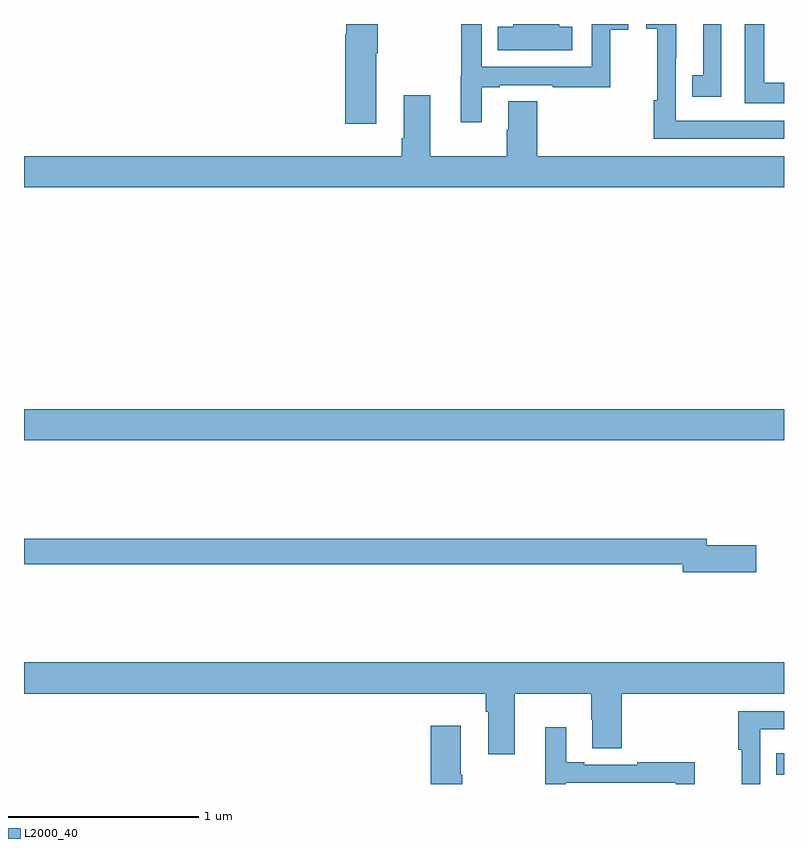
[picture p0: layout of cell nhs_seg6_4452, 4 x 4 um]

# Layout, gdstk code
import gdstk
lib = gdstk.Library(unit=1e-6, precision=1e-09)
def R(c, l, rs):  # rectangles x0, y0, x1, y1
    for r in rs: c.add(gdstk.rectangle(r[:2], r[2:], *l))
def P(c, l, *ps):  # polygons
    for p in ps: c.add(gdstk.Polygon(p, *l))
L2000_40 = (2000, 40)

nhs_seg6_4452 = lib.new_cell('nhs_seg6_4452')
R(nhs_seg6_4452, L2000_40, [(376.96,973.55,377,973.663), (373,975.308,377,975.472)])
P(nhs_seg6_4452, L2000_40, [(374.854,977.345),(374.862,977.345),(374.862,977.5),(374.696,977.5),(374.696,977.445),(374.69,977.445),(374.69,976.974),(374.854,976.974)],
  [(377,977.191),(376.895,977.191),(376.895,977.5),(376.794,977.5),(376.794,977.082),(377,977.082)],
  [(375.409,977.166),(375.505,977.166),(375.505,977.178),(375.784,977.178),(375.784,977.166),(376.086,977.166),(376.086,977.47),(376.18,977.47),(376.18,977.5),(375.987,977.5),(375.987,977.274),(375.408,977.274),(375.408,977.5),(375.3,977.5),(375.3,977.227),(375.299,977.227),(375.299,976.983),(375.409,976.983)],
  [(375.886,977.485),(375.817,977.485),(375.817,977.5),(375.575,977.5),(375.575,977.485),(375.493,977.485),(375.493,977.363),(375.886,977.363)],
  [(376.671,977.5),(376.574,977.5),(376.574,977.231),(376.516,977.231),(376.516,977.118),(376.671,977.118)],
  [(377,976.992),(376.431,976.992),(376.431,977.32),(376.432,977.32),(376.432,977.5),(376.275,977.5),(376.275,977.475),(376.333,977.475),(376.333,977.099),(376.315,977.099),(376.315,976.896),(377,976.896)],
  [(377,976.804),(375.701,976.804),(375.701,977.093),(375.548,977.093),(375.548,976.943),(375.541,976.943),(375.541,976.804),(375.139,976.804),(375.139,977.125),(374.999,977.125),(374.999,976.9),(374.987,976.9),(374.987,976.804),(373,976.804),(373,976.64),(377,976.64)],
  [(376.855,974.756),(376.594,974.756),(376.594,974.792),(373,974.792),(373,974.656),(376.466,974.656),(376.466,974.614),(376.855,974.614)],
  [(375.583,973.976),(375.985,973.976),(375.985,973.838),(375.992,973.838),(375.992,973.687),(376.145,973.687),(376.145,973.976),(377,973.976),(377,974.14),(373,974.14),(373,973.976),(375.431,973.976),(375.431,973.88),(375.443,973.88),(375.443,973.656),(375.583,973.656)],
  [(376.875,973.788),(377,973.788),(377,973.884),(376.759,973.884),(376.759,973.681),(376.777,973.681),(376.777,973.5),(376.875,973.5)],
  [(375.306,973.549),(375.298,973.549),(375.298,973.807),(375.14,973.807),(375.14,973.5),(375.306,973.5)],
  [(375.852,973.506),(376.431,973.506),(376.431,973.5),(376.53,973.5),(376.53,973.615),(376.228,973.615),(376.228,973.602),(375.949,973.602),(375.949,973.615),(375.853,973.615),(375.853,973.798),(375.743,973.798),(375.743,973.553),(375.744,973.553),(375.744,973.5),(375.852,973.5)])

lib.write_gds('nhs_seg6_4452.gds')
